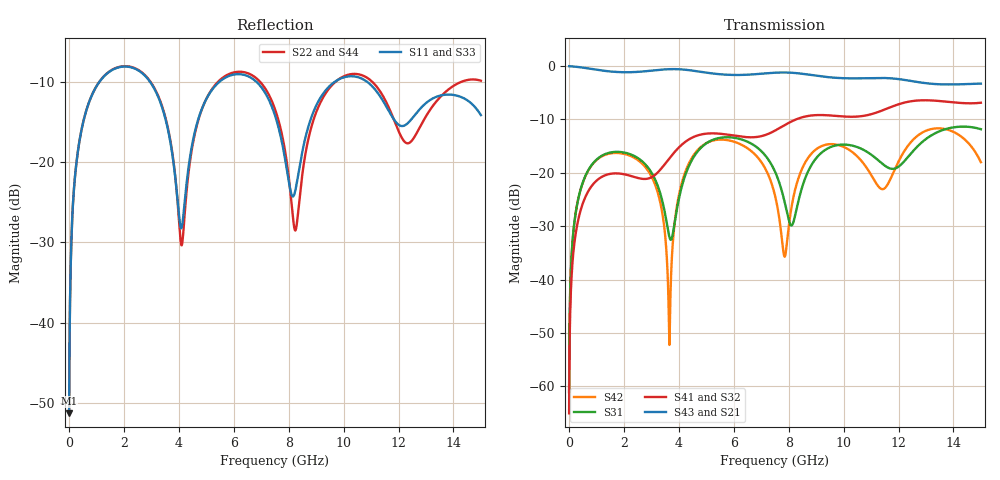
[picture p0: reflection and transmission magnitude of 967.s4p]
! Created with skrf 1.8.0 (http://scikit-rf.org).
# GHz S RI R 50.0
!freq ReS11 ImS11 ReS12 ImS12 ReS13 ImS13
! ReS14 ImS14
! ReS21 ImS21 ReS22 ImS22 ReS23 ImS23
! ReS24 ImS24
! ReS31 ImS31 ReS32 ImS32 ReS33 ImS33
! ReS34 ImS34
! ReS41 ImS41 ReS42 ImS42 ReS43 ImS43
! ReS44 ImS44
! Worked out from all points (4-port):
!   2499 points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, 5 MHz to 15 GHz, reference 50 ohm
!   strongest paths, dB at 5 MHz, 3.476 GHz, 7.19 GHz, 11.1 GHz, 15 GHz:
!     S43: 0.0, -0.6, -1.4, -2.2, -3.3
!     S21: 0.0, -0.6, -1.4, -2.3, -3.3
!     S41: -65.1, -18.5, -12.8, -8.9, -6.9
!     S32: -65.1, -18.5, -12.8, -8.9, -6.9
!     S31: -61.1, -27.1, -17.0, -17.0, -11.8
!     S42: -61.1, -30.5, -19.6, -21.2, -18.0
!   lowest |S11| = -51.2 dB at 5 MHz (marker M1), VSWR 1.01, Z = 50.2 + j0.167 ohm
!   |S11| at or under -10 dB: 2.945 GHz to 5.491 GHz (2.546 GHz wide, 60.4 % of centre); 6.813 GHz to 9.695 GHz (2.882 GHz wide, 34.9 % of centre); 10.84 GHz to end of sweep (the widest 3 of 4)
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0.005  0.00219 0.00166  0.9978 -0.00425  0.000112 0.000874  -0.000109 -0.000548
       0.9978 -0.00425  0.00219 0.00166  -0.000109 -0.000548  0.000112 0.000874
       0.000112 0.000874  -0.000109 -0.000548  0.00219 0.00166  0.9978 -0.00425
       -0.000109 -0.000548  0.000112 0.000874  0.9978 -0.00425  0.00219 0.00166
1.269279  0.2967 0.1652  0.4868 -0.7616  0.1399 0.0477  -0.0936 0.00402
          0.4868 -0.7616  0.2988 0.1635  -0.0936 0.00403  0.134 0.0571
          0.1399 0.0477  -0.0936 0.00403  0.2967 0.1652  0.4868 -0.7616
          -0.0936 0.00402  0.134 0.0571  0.4868 -0.7616  0.2989 0.1635
3.651521  0.0793 -0.1216  -0.8502 -0.3893  -0.0213 -0.0138  -0.0525 0.1255
          -0.8502 -0.3893  0.0725 -0.1292  -0.0522 0.1257  0.00258 -0.000157
          -0.0213 -0.0138  -0.0522 0.1257  0.0801 -0.1215  -0.8501 -0.3895
          -0.0525 0.1255  0.00258 -0.000157  -0.8501 -0.3895  0.0718 -0.1298
5.045852  0.2048 0.1504  -0.6792 0.5345  0.1695 0.0907  0.1838 0.1438
          -0.6792 0.5345  0.2033 0.1542  0.1839 0.1433  0.1638 0.1005
          0.1695 0.0907  0.1839 0.1433  0.2053 0.1488  -0.6796 0.5344
          0.1838 0.1438  0.1638 0.1005  -0.6796 0.5344  0.2015 0.1547
8.140892  0.061 -0.00295  0.8443 0.1881  -0.0262 0.02  0.0589 -0.3003
          0.8443 0.1881  0.0383 -0.0288  0.0581 -0.3004  0.0276 0.0461
          -0.0262 0.02  0.0581 -0.3004  0.0625 -0.00269  0.8444 0.1883
          0.0589 -0.3003  0.0276 0.0461  0.8444 0.1883  0.0364 -0.0288
10.66069  0.3278 -0.0356  -0.0343 -0.7655  0.0615 -0.1557  -0.3355 0.0531
          -0.0343 -0.7655  0.3435 -0.0446  -0.3348 0.0534  0.0675 -0.1092
          0.0615 -0.1557  -0.3348 0.0534  0.3215 -0.0413  -0.0345 -0.7677
          -0.3355 0.0531  0.0675 -0.1092  -0.0345 -0.7677  0.3381 -0.0377
15  0.1813 -0.0733  0.0516 0.6831  0.0809 -0.243  0.4446 -0.089
    0.0516 0.6831  0.3064 -0.0918  0.4441 -0.0936  0.1212 -0.0334
    0.0809 -0.243  0.4441 -0.0936  0.18 -0.0698  0.0516 0.6833
    0.4446 -0.089  0.1212 -0.0334  0.0516 0.6833  0.3064 -0.092
